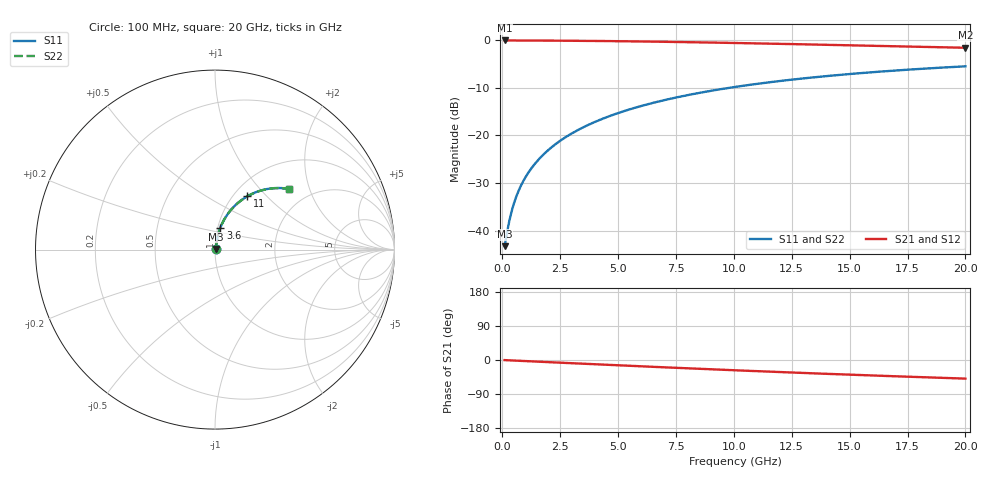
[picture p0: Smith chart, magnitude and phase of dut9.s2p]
! Touchstone file exported from HFSS 2026.1.0
!  File:  C:/ffzhzh/LocalFiles/Ansys_Project_Files/temp_test_BSMRDL_9_1782907323_46784.aedt
!  Generated:  08:03:20 PM Jul  1, 2026
!  Design:  BSMRDL
!  Project:  temp_test_BSMRDL_9_1782907323_46784
! Variables:
!  h_bsmrdl = 2.83um
!  h_ox = 20um
!  h_rdl = 5um
!  h_sub = 80um
!  h_tmrdl = 5um
!  h_tsv = 80um
!  h_via = 3um
!  l_bsmrdl = 661.4um
!  l_sub = 1061.4um
!  l_tmrdl = 200um
!  m_sub = 200um
!  pitch = 51.51um
!  r_tsv = 6um
!  s_tmrdl = 10um
!  w_bsmrdl = 14.5um
!  w_sub = 500um
!  w_tmrdl = 12um
!  x_tsv_center1 = 206um
!  x_tsv_center2 = 881.9um
!  x_tsv_center3 = 1093.9um
!  x_tsv_center4 = 1769.8um
!  x_tsv_center5 = 1981.8um
!  x_tsv_center6 = 2657.7um
# GHz S MA R 50.000000
! Terminal data exported
! Port[1] = BSM_RDL1_1_T1
! Port[2] = BSM_RDL1_1_T2
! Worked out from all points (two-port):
!   200 points, 100 MHz to 20 GHz, reference 50 ohm
!   highest |S21| = -0.05 dB at 100 MHz (marker M1); lowest = -1.6 dB at 20 GHz (marker M2)
!   |S21| within 3 dB of the highest: start of sweep to end of sweep
!   lowest |S11| = -43.3 dB at 100 MHz (marker M3), VSWR 1.01, Z = 50.6 + j0.372 ohm
!   |S11| at or under -10 dB: start of sweep to 9.802 GHz
!   |S22| runs from -43.3 to -5.5 dB; largest |S21 - S12| = 2e-15
!   S11 on the Smith chart (normalised r, x): 100 MHz: 1.01, +0.01; 3.6 GHz: 1.03, +0.25; 11 GHz: 1.16, +0.78; 20 GHz: 1.55, +1.46
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0.1  0.006873 32.3  0.9942 -0.3  0.9942 -0.3  0.006873 32.3
! Gamma 0 0 0 0
! Port Impedance 50 0 50 0
0.2  0.009435 51.0  0.9941 -0.6  0.9941 -0.6  0.009435 51.0
0.3  0.01255 60.7  0.994 -0.9  0.994 -0.9  0.01255 60.7
0.4  0.01586 66.2  0.9938 -1.2  0.9938 -1.2  0.01586 66.2
0.5  0.01925 69.6  0.9936 -1.5  0.9936 -1.5  0.01925 69.6
0.6  0.02266 72.0  0.9934 -1.7  0.9934 -1.7  0.02266 72.0
0.8  0.0295 74.8  0.993 -2.3  0.993 -2.3  0.0295 74.8
1.1  0.03978 77.0  0.9924 -3.1  0.9924 -3.1  0.03978 77.0
1.5  0.05352 78.2  0.9916 -4.3  0.9916 -4.3  0.05352 78.2
2.1  0.07415 78.5  0.99 -6.0  0.99 -6.0  0.07415 78.4
2.7  0.0947 77.9  0.9881 -7.6  0.9881 -7.6  0.09471 77.9
3.5  0.1219 76.5  0.9848 -9.9  0.9848 -9.9  0.1219 76.5
3.6  0.1252 76.3  0.9844 -10.1  0.9844 -10.1  0.1252 76.3
4.3  0.1486 74.8  0.9808 -12.1  0.9808 -12.1  0.1487 74.8
5  0.1717 73.2  0.9768 -14.0  0.9768 -14.0  0.1717 73.2
6.8  0.2288 68.9  0.9642 -18.8  0.9642 -18.8  0.2288 68.8
8.3  0.2738 65.2  0.9518 -22.7  0.9518 -22.7  0.2738 65.2
10.1  0.3243 60.8  0.935 -27.3  0.935 -27.3  0.3243 60.8
11  0.3481 58.7  0.9261 -29.5  0.9261 -29.5  0.3481 58.6
13.4  0.4065 53.2  0.9014 -35.1  0.9014 -35.1  0.4065 53.1
16.7  0.4754 46.1  0.8667 -42.4  0.8667 -42.4  0.4754 46.0
20  0.5319 39.5  0.8332 -49.1  0.8332 -49.1  0.532 39.4
